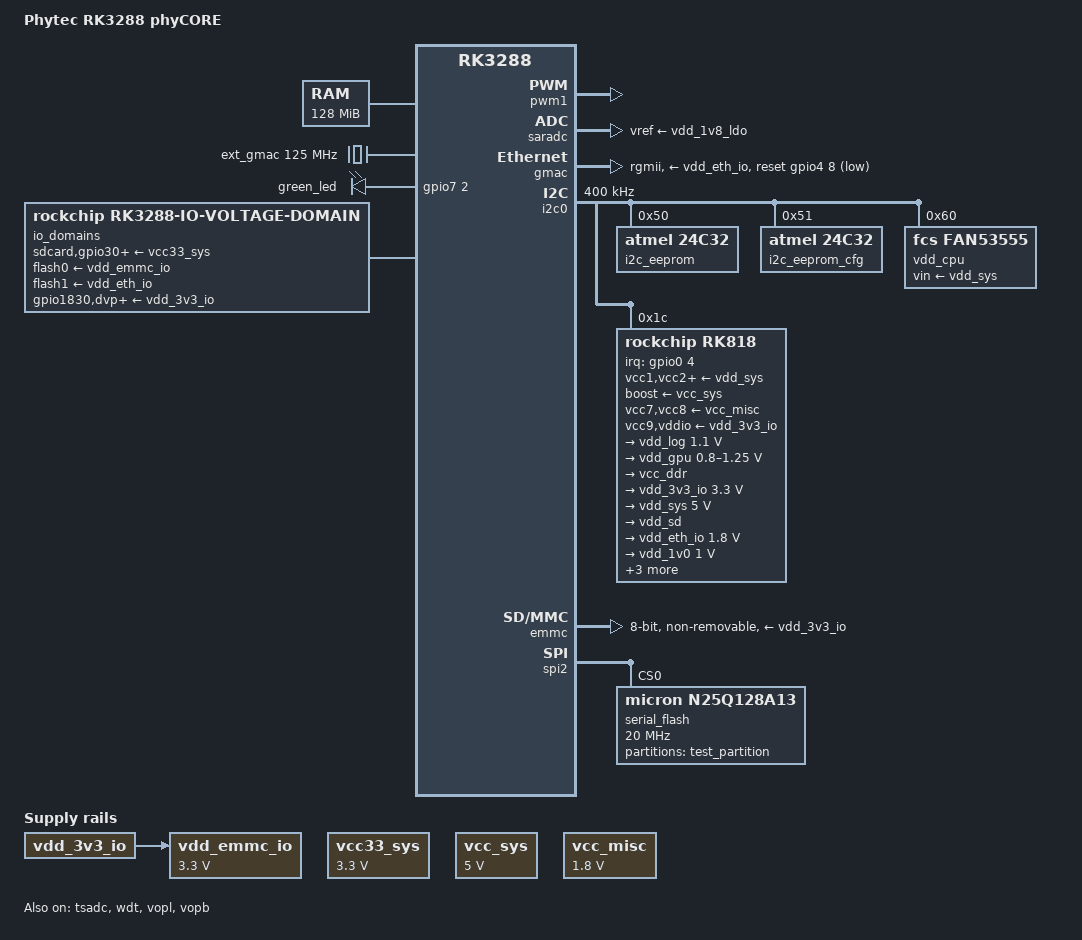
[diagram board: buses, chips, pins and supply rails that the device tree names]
/*
 * Copyright (C) 2016 PHYTEC Messtechnik GmbH
 * Author: Wadim Egorov <w.egorov@phytec.de>
 *
 * This program is free software; you can redistribute it and/or modify
 * it under the terms of the GNU General Public License version 2 as
 * published by the Free Software Foundation.
 */

#include "rk3288.dtsi"

/ {
	model = "Phytec RK3288 phyCORE";
	compatible = "phytec,rk3288-phycore-som", "rockchip,rk3288";

	/*
	 * Set the minimum memory size here and
	 * let the bootloader set the real size.
	 */
	memory {
		device_type = "memory";
		reg = <0 0x8000000>;
	};

	aliases {
		rtc0 = &i2c_rtc;
		rtc1 = &rk818;
	};

	regulators {
		compatible = "simple-bus";

		vcc33_sys: vcc33-sys {
			compatible = "regulator-fixed";
		};

		vcc_sys: vcc-sys {
			compatible = "regulator-fixed";
		};


		vdd_emmc_io: vdd-emmc-io {
			compatible = "regulator-fixed";
		};

		vcc_misc: vcc-misc {
			compatible = "regulator-fixed";
		};
	};

	ext_gmac: external-gmac-clock {
		compatible = "fixed-clock";
	};

	leds: user_leds {
		compatible = "gpio-leds";
	};

	io_domains: io-domains {
		compatible = "rockchip,rk3288-io-voltage-domain";
	};
};

&pinctrl {
	pcfg_output_high: pcfg-output-high {
		output-high;
	};

	pcfg_output_low: pcfg-output-low {
		output-low;
	};

	pcfg_pull_up_drv_12ma: pcfg-pull-up-drv-12ma {
		bias-pull-up;
		drive-strength = <12>;
	};
};

&cpu0 {
	cpu0-supply = <&vdd_cpu>;
	operating-points = <
		/* KHz    uV */
		1800000	1400000
		1608000	1350000
		1512000 1300000
		1416000 1200000
		1200000 1100000
		1008000 1050000
		 816000 1000000
		 696000  950000
		 600000  900000
		 408000  900000
		 312000  900000
		 216000  900000
		 126000  900000
	>;
};

/* ADC */
&pwm1 {
	status = "okay";
};

&saradc {
	vref-supply = <&vdd_1v8_ldo>;
	status = "okay";
};

&tsadc {
	rockchip,hw-tshut-mode = <0>;
	rockchip,hw-tshut-polarity = <0>;
	status = "okay";
};

&wdt {
	status = "okay";
};

/* Display & Video */
&hdmi {
	ddc-i2c-bus = <&i2c5>;
};

&vopl {
	status = "okay";
};

&vopl_mmu {
	status = "okay";
};

&vopb {
	status = "okay";
};

&vopb_mmu {
	status = "okay";
};

/* Ethernet */
&pinctrl {
	gmac {
		phy_int: phy-int {
			rockchip,pins = <4 2 RK_FUNC_GPIO &pcfg_pull_up>;
		};

		phy_rst: phy-rst {
			rockchip,pins = <4 8 RK_FUNC_GPIO &pcfg_output_high>;
		};
	};
};

&ext_gmac {
	#clock-cells = <0>;
	clock-frequency = <125000000>;
	clock-output-names = "ext_gmac";
};

&gmac {
	assigned-clocks = <&cru SCLK_MAC>;
	assigned-clock-parents = <&ext_gmac>;
	clock_in_out = "input";
	pinctrl-names = "default";
	pinctrl-0 = <&rgmii_pins &phy_rst &phy_int>;
	phy-supply = <&vdd_eth_io>;
	phy-mode = "rgmii";
	snps,reset-active-low;
	snps,reset-delays-us = <0 10000 1000000>;
	snps,reset-gpio = <&gpio4 8 GPIO_ACTIVE_LOW>;
	tx_delay = <0x30>;
	rx_delay = <0x10>;
};

/* I2C Busses */
&pinctrl {
	pmic {
		pmic_int: pmic-int {
			rockchip,pins = <RK_GPIO0 4 RK_FUNC_GPIO &pcfg_pull_up>;
		};

		/* Pin for switching state between sleep and non-sleep state */
		pmic_sleep: pmic-sleep {
			rockchip,pins = <RK_GPIO0 0 RK_FUNC_GPIO &pcfg_pull_up>;
		};
	};
};

&i2c0 {
	clock-frequency = <400000>;
	status = "okay";

	i2c_eeprom: eeprom@50 {
		compatible = "atmel,24c32";
		pagesize = <32>;
		reg = <0x50>;
	};

	i2c_eeprom_cfg: eeprom@51 {
		compatible = "atmel,24c32";
		pagesize = <32>;
		reg = <0x51>;
	};

	/* FAN53555UC18X */
	vdd_cpu: fan53555@60 {
		compatible = "fcs,fan53555";
		reg = <0x60>;
		fcs,suspend-voltage-selector = <1>;
		regulator-always-on;
		regulator-boot-on;
		regulator-enable-ramp-delay = <300>;
		regulator-name = "vdd_cpu";
		regulator-min-microvolt = <800000>;
		regulator-max-microvolt = <1430000>;
		regulator-ramp-delay = <8000>;
		vin-supply = <&vdd_sys>;
		status = "okay";
	};

	rk818: pmic@1c {
		compatible = "rockchip,rk818";
		reg = <0x1c>;

		interrupt-parent = <&gpio0>;
		interrupts = <4 IRQ_TYPE_LEVEL_LOW>;
		pinctrl-names = "default";
		pinctrl-0 = <&pmic_int>;
		rockchip,system-power-controller;
		wakeup-source;
		#clock-cells = <1>;

		vcc1-supply = <&vdd_sys>;
		vcc2-supply = <&vdd_sys>;
		vcc3-supply = <&vdd_sys>;
		vcc4-supply = <&vdd_sys>;
		boost-supply = <&vcc_sys>;
		vcc6-supply = <&vdd_sys>;
		vcc7-supply = <&vcc_misc>;
		vcc8-supply = <&vcc_misc>;
		vcc9-supply = <&vdd_3v3_io>;
		vddio-supply = <&vdd_3v3_io>;

		regulators {
			vdd_log: DCDC_REG1 {
				regulator-name = "vdd_log";
				regulator-always-on;
				regulator-boot-on;
				regulator-min-microvolt = <1100000>;
				regulator-max-microvolt = <1100000>;
				regulator-state-mem {
					regulator-off-in-suspend;
				};
			};

			vdd_gpu: DCDC_REG2 {
				regulator-name = "vdd_gpu";
				regulator-always-on;
				regulator-boot-on;
				regulator-min-microvolt = <800000>;
				regulator-max-microvolt = <1250000>;
				regulator-state-mem {
					regulator-on-in-suspend;
					regulator-suspend-microvolt = <1000000>;
				};
			};

			vcc_ddr: DCDC_REG3 {
				regulator-name = "vcc_ddr";
				regulator-always-on;
				regulator-boot-on;
				regulator-state-mem {
					regulator-on-in-suspend;
				};
			};

			vdd_3v3_io: DCDC_REG4 {
				regulator-name = "vdd_3v3_io";
				regulator-always-on;
				regulator-boot-on;
				regulator-min-microvolt = <3300000>;
				regulator-max-microvolt = <3300000>;
				regulator-state-mem {
					regulator-on-in-suspend;
					regulator-suspend-microvolt = <3300000>;
				};
			};

			vdd_sys: DCDC_BOOST {
				regulator-name = "vdd_sys";
				regulator-always-on;
				regulator-boot-on;
				regulator-min-microvolt = <5000000>;
				regulator-max-microvolt = <5000000>;
				regulator-state-mem {
					regulator-on-in-suspend;
					regulator-suspend-microvolt = <5000000>;
				};
			};

			/* vcc9 */
			vdd_sd: SWITCH_REG {
				regulator-name = "vdd_sd";
				regulator-always-on;
				regulator-boot-on;
				regulator-state-mem {
					regulator-off-in-suspend;
				};
			};

			/* vcc6 */
			vdd_eth_io: LDO_REG2 {
				regulator-name = "vdd_eth_io";
				regulator-always-on;
				regulator-boot-on;
				regulator-min-microvolt = <1800000>;
				regulator-max-microvolt = <1800000>;
				regulator-state-mem {
					regulator-on-in-suspend;
					regulator-suspend-microvolt = <1800000>;
				};
			};

			/* vcc7 */
			vdd_1v0: LDO_REG3 {
				regulator-name = "vdd_1v0";
				regulator-always-on;
				regulator-boot-on;
				regulator-min-microvolt = <1000000>;
				regulator-max-microvolt = <1000000>;
				regulator-state-mem {
					regulator-on-in-suspend;
					regulator-suspend-microvolt = <1000000>;
				};
			};

			/* vcc8 */
			vdd_1v8_lcd_ldo: LDO_REG4 {
				regulator-name = "vdd_1v8_lcd_ldo";
				regulator-always-on;
				regulator-boot-on;
				regulator-min-microvolt = <1800000>;
				regulator-max-microvolt = <1800000>;
				regulator-state-mem {
					regulator-on-in-suspend;
					regulator-suspend-microvolt = <1800000>;
				};
			};

			/* vcc8 */
			vdd_1v0_lcd: LDO_REG6 {
				regulator-name = "vdd_1v0_lcd";
				regulator-always-on;
				regulator-boot-on;
				regulator-min-microvolt = <1000000>;
				regulator-max-microvolt = <1000000>;
				regulator-state-mem {
					regulator-on-in-suspend;
					regulator-suspend-microvolt = <1000000>;
				};
			};

			/* vcc7 */
			vdd_1v8_ldo: LDO_REG7 {
				regulator-name = "vdd_1v8_ldo";
				regulator-always-on;
				regulator-boot-on;
				regulator-min-microvolt = <1800000>;
				regulator-max-microvolt = <1800000>;
				regulator-state-mem {
					regulator-off-in-suspend;
					regulator-suspend-microvolt = <1800000>;
				};
			};

			/* vcc8 */
			/* LDO8 can not provide 1.2V */
			vdd_eth_1v2: LDO_REG8 {
				regulator-name = "vdd_eth_1v2";
				regulator-always-on;
				regulator-boot-on;
				regulator-min-microvolt = <1800000>;
				regulator-max-microvolt = <1800000>;
				regulator-state-mem {
					regulator-off-in-suspend;
					regulator-suspend-microvolt = <1800000>;
				};
			};

			/* vcc9 */
			vdd_io_sd: LDO_REG9 {
				regulator-name = "vdd_io_sd";
				regulator-always-on;
				regulator-boot-on;
				regulator-min-microvolt = <3300000>;
				regulator-max-microvolt = <3300000>;
				regulator-state-mem {
					regulator-on-in-suspend;
					regulator-suspend-microvolt = <3300000>;
				};
			};
		};
	};
};

/* MMC */
&emmc {
	broken-cd;
	bus-width = <8>;
	cap-mmc-highspeed;
	disable-wp;
	non-removable;
	num-slots = <1>;
	pinctrl-names = "default";
	pinctrl-0 = <&emmc_clk &emmc_cmd &emmc_pwr &emmc_bus8>;
	vmmc-supply = <&vdd_3v3_io>;
	vqmmc-supply = <&vdd_emmc_io>;
	status = "okay";
};

/* LED */
&pinctrl {
	leds {
		user_led: user-led {
			rockchip,pins = <7 2 RK_FUNC_GPIO &pcfg_output_high>;
		};
	};
};

&leds {
	pinctrl-names = "default";
	pinctrl-0 = <&user_led>;

	user {
		label = "green_led";
		gpios = <&gpio7 2 GPIO_ACTIVE_HIGH>;
		linux,default-trigger = "heartbeat";
		default-state = "keep";
	};
};

/* Power */
&vcc33_sys {
	regulator-name = "vcc33_sys";
	regulator-always-on;
	regulator-boot-on;
	regulator-min-microvolt = <3300000>;
	regulator-max-microvolt = <3300000>;
};

&vcc_sys {
	regulator-name = "vcc_sys";
	regulator-always-on;
	regulator-boot-on;
	regulator-min-microvolt = <5000000>;
	regulator-max-microvolt = <5000000>;
};

&vdd_emmc_io {
	regulator-name = "vdd_emmc_io";
	regulator-min-microvolt = <3300000>;
	regulator-max-microvolt = <3300000>;
	vin-supply = <&vdd_3v3_io>;
};

&vcc_misc {
	regulator-name = "vcc_misc";
	regulator-always-on;
	regulator-boot-on;
	regulator-min-microvolt = <1800000>;
	regulator-max-microvolt = <1800000>;
};

&io_domains {
	rockchip,grf = <&grf>;
	sdcard-supply = <&vcc33_sys>;
	flash0-supply = <&vdd_emmc_io>;
	flash1-supply = <&vdd_eth_io>;
	gpio1830-supply = <&vdd_3v3_io>;
	gpio30-supply = <&vcc33_sys>;
	bb-supply = <&vcc33_sys>;
	dvp-supply = <&vdd_3v3_io>;
	lcdc-supply = <&vdd_3v3_io>;
	wifi-supply = <&vdd_3v3_io>;
	audio-supply = <&vdd_3v3_io>;
};

/* SPI Bus */
&spi2 {
	status = "okay";

	serial_flash: m25p80@0 {
		compatible = "micron,n25q128a13", "jedec,spi-nor";
		spi-max-frequency = <20000000>;
		reg = <0x0>;
		m25p,fast-read;
		status = "okay";
		#address-cells = <1>;
		#size-cells = <1>;

		partition@0 {
			label = "test_partition";
			reg = <0x0 0x0>;
		};
	};
};
